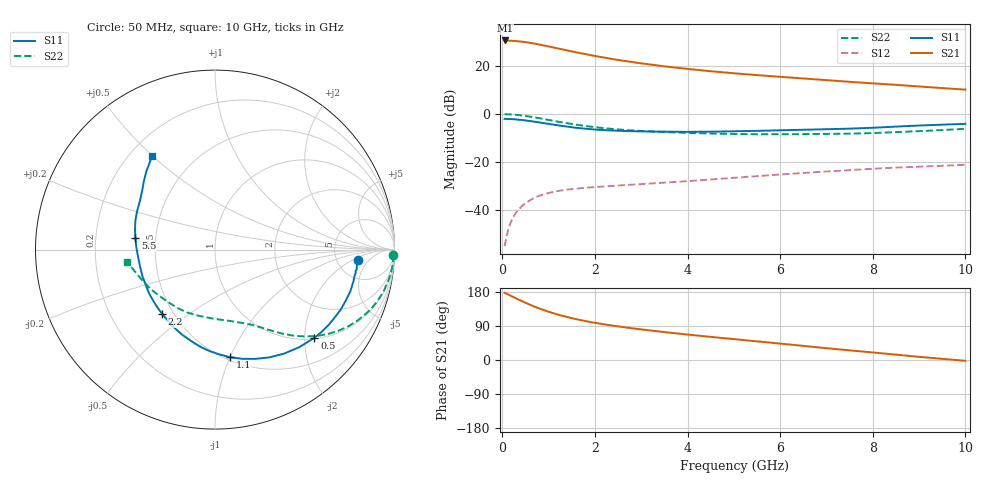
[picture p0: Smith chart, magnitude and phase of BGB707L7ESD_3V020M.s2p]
!  Infineon Technologies AG
!  BGB707L7ESD
!  Vce = 3.0V, Ic = 20.0mA
!  DATUM: 30.06.2009 10:18:34
# GHz  S  MA  R  50
!f  S11  S21  S12  S22
!GHz  Mag  Ang  Mag  Ang  Mag  Ang  Mag  Ang
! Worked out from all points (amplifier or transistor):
!   52 points, 50 MHz to 10 GHz, reference 50 ohm
!   highest |S21| = 30.8 dB at 60 MHz (marker M1)
!   |S21| within 3 dB of that: start of sweep to 1.122 GHz
!   unconditionally stable (mu >= 1): 4.357 GHz to 8.451 GHz
!   at 130 MHz: K = 0.05, MSG = 39.4 dB, |S12| = -48.1 dB
!   at 1.4 GHz: K = 0.42, MSG = 29.1 dB, |S12| = -31.5 dB
!   at 10 GHz: K = 0.92, MSG = 15.7 dB, |S12| = -21.1 dB
!   S11 on the Smith chart (normalised r, x): 50 MHz: 8.09, -2.49; 500 MHz: 1.03, -2.23; 1.1 GHz: 0.53, -1.00; 2.2 GHz: 0.44, -0.40; 5.5 GHz: 0.38, +0.06; 10 GHz: 0.29, +0.50
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0.05  0.7974 -4.0  33.99 177.3  0.001751 83.6  0.9926 -1.7
0.06  0.7974 -5.6  34.6 176.7  0.002012 88.8  0.9936 -2.2
0.08  0.7947 -6.6  34.07 175.3  0.002358 87.2  0.9937 -3.3
0.09  0.7977 -7.9  34.37 175.3  0.002742 87.1  0.994 -3.9
0.1  0.792 -8.6  34.17 174.2  0.003079 84.1  0.9931 -4.4
0.2  0.7891 -17.2  34.15 168.6  0.005982 81.1  0.9838 -9.3
0.3  0.7761 -25.5  33.58 162.6  0.008833 77.0  0.9676 -14.0
0.5  0.7406 -41.6  31.93 151.2  0.01384 69.4  0.9172 -22.6
0.7  0.6954 -56.5  29.71 140.6  0.01804 62.8  0.8554 -30.1
0.8  0.6722 -63.3  28.41 136.0  0.01976 60.0  0.8227 -33.3
1.1  0.6048 -82.1  24.76 123.5  0.02378 53.3  0.7272 -41.5
1.3  0.5663 -93.0  22.5 116.6  0.0257 50.2  0.6716 -45.9
1.5  0.5332 -102.6  20.47 110.4  0.02721 47.8  0.6236 -49.4
1.8  0.4966 -115.2  17.89 102.7  0.02899 45.9  0.5657 -53.9
2.2  0.4636 -129.4  15.18 94.1  0.03097 44.7  0.5094 -58.8
2.8  0.4413 -145.8  12.27 83.7  0.03372 44.9  0.4579 -65.4
3.5  0.4308 -159.9  9.973 73.6  0.03714 46.4  0.4234 -72.8
4.5  0.4309 -175.2  7.881 61.1  0.04326 48.9  0.3941 -84.0
5.5  0.448 171.7  6.533 49.2  0.05071 50.1  0.3804 -98.1
7  0.4847 153.4  5.134 31.1  0.06355 48.6  0.387 -123.0
8.5  0.5496 136.1  4.096 14.1  0.07662 44.3  0.4217 -149.0
10  0.6282 124.0  3.252 -2.2  0.08771 39.6  0.4964 -172.2
